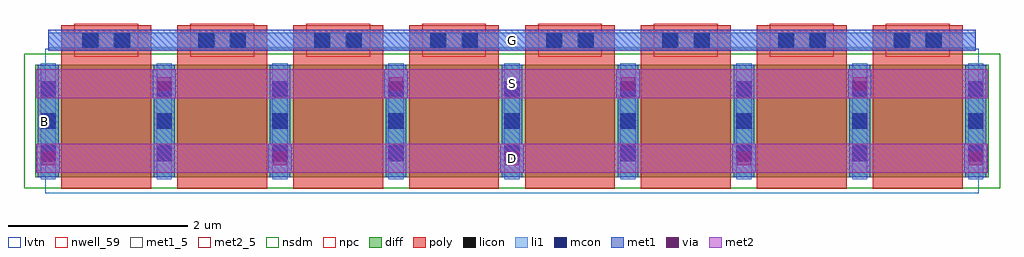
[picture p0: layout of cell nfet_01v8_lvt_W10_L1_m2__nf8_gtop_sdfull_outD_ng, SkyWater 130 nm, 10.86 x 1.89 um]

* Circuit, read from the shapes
.subckt nfet_01v8_lvt_W10_L1_m2__nf8_gtop_sdfull_outD_ng B D G S
XM1 S G D B sky130_fd_pr__nfet_01v8_lvt w=1.25 l=1 m=8
.ends

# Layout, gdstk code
import gdstk
lib = gdstk.Library(unit=1e-6, precision=1e-09)
def R(c, l, rs):  # rectangles x0, y0, x1, y1
    for r in rs: c.add(gdstk.rectangle(r[:2], r[2:], *l))
def A(c, l, x, y, w, h, nx, ny, dx, dy):  # array of equal rectangles
    R(c, l, [(x+i*dx, y+j*dy, x+i*dx+w, y+j*dy+h) for i in range(nx) for j in range(ny)])
nwell_59 = (64, 59)
diff = (65, 20)
poly = (66, 20)
licon = (66, 44)
li1 = (67, 20)
mcon = (67, 44)
met1_5 = (68, 5)
met1 = (68, 20)
via = (68, 44)
met2_5 = (69, 5)
met2 = (69, 20)
nsdm = (93, 44)
npc = (95, 20)
lvtn = (125, 44)

sky130_fd_pr__nfet_01v8_ = lib.new_cell('sky130_fd_pr__nfet_01v8_lvt_EGFVK9')
R(sky130_fd_pr__nfet_01v8_, diff, [(-5.305,-0.78,5.305,0.47)])
A(sky130_fd_pr__nfet_01v8_, poly, -5.015, -0.91, 1, 1.82, 8, 1, 1.29, 0)
A(sky130_fd_pr__nfet_01v8_, licon, -5.245, -0.58, 0.17, 0.17, 9, 3, 1.29, 0.34)
R(sky130_fd_pr__nfet_01v8_, licon, [(-4.77,0.66,-4.6,0.83), (-4.43,0.66,-4.26,0.83), (-3.48,0.66,-3.31,0.83), (-3.14,0.66,-2.97,0.83), (-2.19,0.66,-2.02,0.83), (-1.85,0.66,-1.68,0.83), (-0.9,0.66,-0.73,0.83), (-0.56,0.66,-0.39,0.83), (0.39,0.66,0.56,0.83), (0.73,0.66,0.9,0.83), (1.68,0.66,1.85,0.83), (2.02,0.66,2.19,0.83), (2.97,0.66,3.14,0.83), (3.31,0.66,3.48,0.83), (4.26,0.66,4.43,0.83), (4.6,0.66,4.77,0.83)])
A(sky130_fd_pr__nfet_01v8_, li1, -5.245, -0.8, 0.17, 1.29, 9, 1, 1.29, 0)
R(sky130_fd_pr__nfet_01v8_, li1, [(-5.16,0.66,5.16,0.83)])
A(sky130_fd_pr__nfet_01v8_, mcon, -5.245, -0.6, 0.17, 0.17, 9, 3, 1.29, 0.36)
R(sky130_fd_pr__nfet_01v8_, mcon, [(-4.78,0.66,-4.61,0.83), (-4.42,0.66,-4.25,0.83), (-3.49,0.66,-3.32,0.83), (-3.13,0.66,-2.96,0.83), (-2.2,0.66,-2.03,0.83), (-1.84,0.66,-1.67,0.83), (-0.91,0.66,-0.74,0.83), (-0.55,0.66,-0.38,0.83), (0.38,0.66,0.55,0.83), (0.74,0.66,0.91,0.83), (1.67,0.66,1.84,0.83), (2.03,0.66,2.2,0.83), (2.96,0.66,3.13,0.83), (3.32,0.66,3.49,0.83), (4.25,0.66,4.42,0.83), (4.61,0.66,4.78,0.83)])
A(sky130_fd_pr__nfet_01v8_, met1, -5.275, -0.78, 0.23, 1.25, 9, 1, 1.29, 0)
A(sky130_fd_pr__nfet_01v8_, met1, -4.995, 0.63, 0.96, 0.03, 8, 2, 1.29, 0.2)
R(sky130_fd_pr__nfet_01v8_, met1, [(-5.16,0.66,5.16,0.83)])
R(sky130_fd_pr__nfet_01v8_, nsdm, [(-5.43,-0.905,5.43,0.595)])
A(sky130_fd_pr__nfet_01v8_, npc, -4.87, 0.56, 0.71, 0.37, 8, 1, 1.29, 0)
R(sky130_fd_pr__nfet_01v8_, lvtn, [(-5.195,-0.96,5.195,0.65)])
sky130_fd_pr__nfet_01v8_.add(gdstk.Label('D0', (-5.16,-0.155), layer=67, texttype=5))
sky130_fd_pr__nfet_01v8_.add(gdstk.Label('G', (4.515,0.745), layer=67, texttype=5))
sky130_fd_pr__nfet_01v8_.add(gdstk.Label('G', (3.225,0.745), layer=67, texttype=5))
sky130_fd_pr__nfet_01v8_.add(gdstk.Label('G', (1.935,0.745), layer=67, texttype=5))
sky130_fd_pr__nfet_01v8_.add(gdstk.Label('G', (0.645,0.745), layer=67, texttype=5))
sky130_fd_pr__nfet_01v8_.add(gdstk.Label('G', (-0.645,0.745), layer=67, texttype=5))
sky130_fd_pr__nfet_01v8_.add(gdstk.Label('G', (-1.935,0.745), layer=67, texttype=5))
sky130_fd_pr__nfet_01v8_.add(gdstk.Label('G', (-3.225,0.745), layer=67, texttype=5))
sky130_fd_pr__nfet_01v8_.add(gdstk.Label('G', (-4.515,0.745), layer=67, texttype=5))
sky130_fd_pr__nfet_01v8_.add(gdstk.Label('S1', (-3.87,-0.155), layer=67, texttype=5))
sky130_fd_pr__nfet_01v8_.add(gdstk.Label('D2', (-2.58,-0.155), layer=67, texttype=5))
sky130_fd_pr__nfet_01v8_.add(gdstk.Label('S3', (-1.29,-0.155), layer=67, texttype=5))
sky130_fd_pr__nfet_01v8_.add(gdstk.Label('D4', (0,-0.155), layer=67, texttype=5))
sky130_fd_pr__nfet_01v8_.add(gdstk.Label('S5', (1.29,-0.155), layer=67, texttype=5))
sky130_fd_pr__nfet_01v8_.add(gdstk.Label('D6', (2.58,-0.155), layer=67, texttype=5))
sky130_fd_pr__nfet_01v8_.add(gdstk.Label('S7', (3.87,-0.155), layer=67, texttype=5))

nfet_01v8_lvt_w10_l1_m2_ = lib.new_cell('nfet_01v8_lvt_W10_L1_m2__nf8_gtop_sdfull_outD_ng')
R(nfet_01v8_lvt_w10_l1_m2_, nwell_59, [(0.05,0.705,0.15,0.805)])
R(nfet_01v8_lvt_w10_l1_m2_, met1_5, [(0.145,1.54,10.465,1.77)])
A(nfet_01v8_lvt_w10_l1_m2_, met1, 0.015, 0.18, 0.26, 0.32, 5, 1, 2.58, 0)
A(nfet_01v8_lvt_w10_l1_m2_, met1, 1.305, 1.01, 0.26, 0.32, 4, 1, 2.58, 0)
R(nfet_01v8_lvt_w10_l1_m2_, met1, [(0.145,1.54,10.465,1.77)])
A(nfet_01v8_lvt_w10_l1_m2_, via, 0.07, 0.265, 0.15, 0.15, 5, 1, 2.58, 0)
A(nfet_01v8_lvt_w10_l1_m2_, via, 1.36, 1.095, 0.15, 0.15, 4, 1, 2.58, 0)
R(nfet_01v8_lvt_w10_l1_m2_, met2_5, [(0.01,0.18,10.6,0.5), (0.01,1.01,10.6,1.33)])
R(nfet_01v8_lvt_w10_l1_m2_, met2, [(0.01,0.18,10.6,0.5), (0.01,1.01,10.6,1.33)])
nfet_01v8_lvt_w10_l1_m2_.add(gdstk.Reference(sky130_fd_pr__nfet_01v8_, (5.305,0.91)))
nfet_01v8_lvt_w10_l1_m2_.add(gdstk.Label('S', (5.305,1.17), layer=69, texttype=5))
nfet_01v8_lvt_w10_l1_m2_.add(gdstk.Label('D', (5.305,0.34), layer=69, texttype=5))
nfet_01v8_lvt_w10_l1_m2_.add(gdstk.Label('G', (5.305,1.655), layer=68, texttype=5))
nfet_01v8_lvt_w10_l1_m2_.add(gdstk.Label('B', (0.1,0.755), layer=64, texttype=59))

lib.write_gds('nfet_01v8_lvt_W10_L1_m2__nf8_gtop_sdfull_outD_ng.gds')
